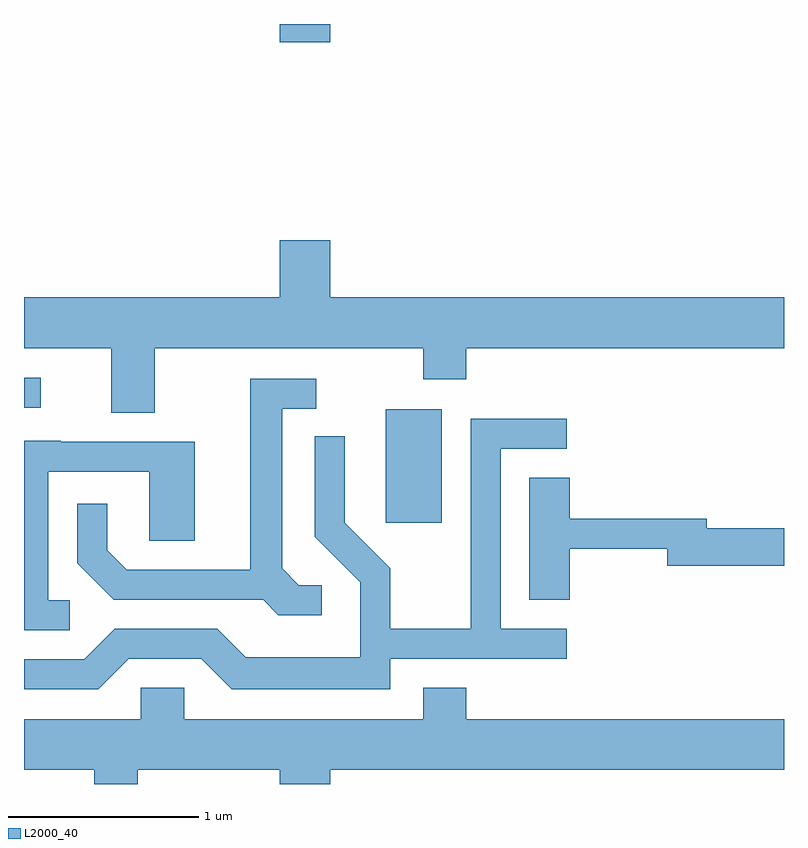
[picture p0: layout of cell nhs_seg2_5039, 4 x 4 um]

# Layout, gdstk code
import gdstk
lib = gdstk.Library(unit=1e-6, precision=1e-09)
def R(c, l, rs):  # rectangles x0, y0, x1, y1
    for r in rs: c.add(gdstk.rectangle(r[:2], r[2:], *l))
def P(c, l, *ps):  # polygons
    for p in ps: c.add(gdstk.Polygon(p, *l))
L2000_40 = (2000, 40)

nhs_seg2_5039 = lib.new_cell('nhs_seg2_5039')
R(nhs_seg2_5039, L2000_40, [(335.516,1045.176,335.809,1045.774), (333.611,1045.781,333.698,1045.939), (334.956,1047.706,335.224,1047.802)])
P(nhs_seg2_5039, L2000_40, [(334.299,1046.096),(335.711,1046.096),(335.711,1045.931),(335.939,1045.931),(335.939,1046.096),(337.611,1046.096),(337.611,1046.364),(335.224,1046.364),(335.224,1046.664),(334.956,1046.664),(334.956,1046.364),(333.611,1046.364),(333.611,1046.096),(334.071,1046.096),(334.071,1045.756),(334.299,1045.756)],
  [(335.178,1044.849),(335.057,1044.849),(334.969,1044.937),(334.969,1045.776),(335.148,1045.776),(335.148,1045.934),(334.801,1045.934),(334.801,1044.929),(334.152,1044.929),(334.049,1045.032),(334.049,1045.277),(333.891,1045.277),(333.891,1044.964),(334.084,1044.771),(334.869,1044.771),(334.949,1044.691),(335.178,1044.691)],
  [(334.162,1044.461),(334.544,1044.461),(334.704,1044.301),(335.539,1044.301),(335.539,1044.461),(336.468,1044.461),(336.468,1044.619),(336.119,1044.619),(336.119,1045.566),(336.468,1045.566),(336.468,1045.724),(335.961,1045.724),(335.961,1044.619),(335.539,1044.619),(335.539,1044.937),(335.299,1045.177),(335.299,1045.632),(335.141,1045.632),(335.141,1045.103),(335.381,1044.863),(335.381,1044.469),(334.777,1044.469),(334.627,1044.619),(334.089,1044.619),(333.929,1044.459),(333.611,1044.459),(333.611,1044.301),(334.002,1044.301)],
  [(333.853,1044.769),(333.739,1044.769),(333.739,1045.446),(334.271,1045.446),(334.271,1045.081),(334.509,1045.081),(334.509,1045.604),(333.805,1045.604),(333.805,1045.609),(333.611,1045.609),(333.611,1044.611),(333.853,1044.611)],
  [(336.484,1045.041),(336.996,1045.041),(336.996,1044.951),(337.611,1044.951),(337.611,1045.149),(337.204,1045.149),(337.204,1045.199),(336.484,1045.199),(336.484,1045.414),(336.271,1045.414),(336.271,1044.771),(336.484,1044.771)],
  [(334.209,1043.876),(334.956,1043.876),(334.956,1043.802),(335.224,1043.802),(335.224,1043.876),(337.611,1043.876),(337.611,1044.144),(335.939,1044.144),(335.939,1044.309),(335.711,1044.309),(335.711,1044.144),(334.454,1044.144),(334.454,1044.309),(334.226,1044.309),(334.226,1044.144),(333.611,1044.144),(333.611,1043.876),(333.981,1043.876),(333.981,1043.802),(334.209,1043.802)])

lib.write_gds('nhs_seg2_5039.gds')
